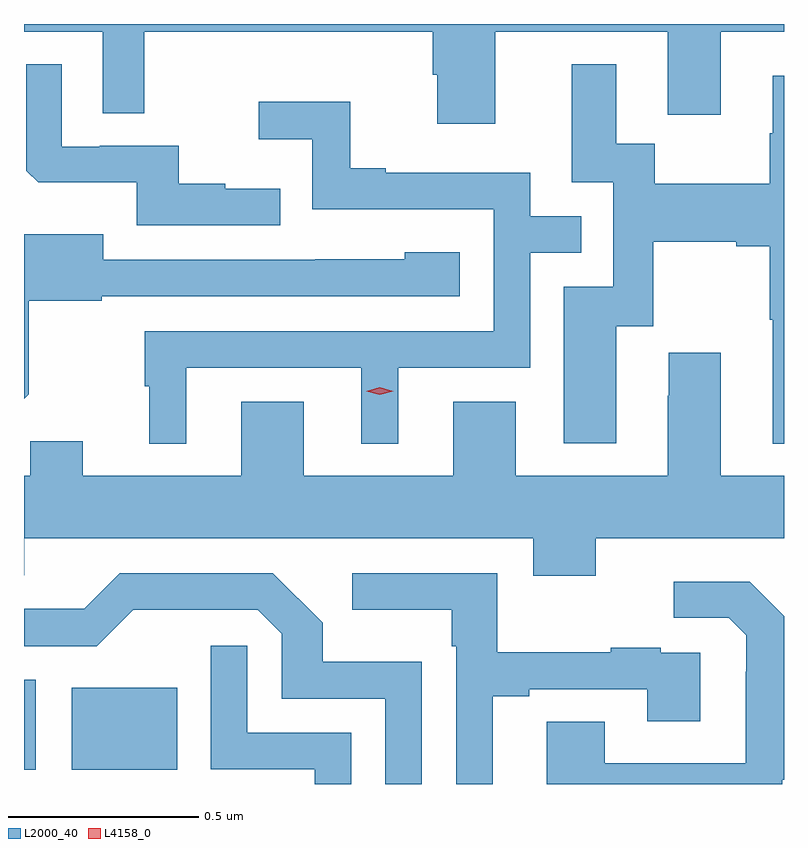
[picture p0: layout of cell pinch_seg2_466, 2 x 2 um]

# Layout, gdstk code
import gdstk
lib = gdstk.Library(unit=1e-6, precision=1e-09)
def R(c, l, rs):  # rectangles x0, y0, x1, y1
    for r in rs: c.add(gdstk.rectangle(r[:2], r[2:], *l))
def P(c, l, *ps):  # polygons
    for p in ps: c.add(gdstk.Polygon(p, *l))
L2000_40 = (2000, 40)
L4158_0 = (4158, 0)

pinch_seg2_466 = lib.new_cell('pinch_seg2_466')
R(pinch_seg2_466, L2000_40, [(888.357,601.739,888.388,601.975), (888.482,601.739,888.76,601.954)])
P(pinch_seg2_466, L2000_40, [(889.597,603.68),(890.051,603.68),(890.051,603.462),(890.191,603.462),(890.191,603.68),(890.357,603.68),(890.357,603.701),(888.357,603.701),(888.357,603.68),(888.564,603.68),(888.564,603.466),(888.673,603.466),(888.673,603.68),(889.433,603.68),(889.433,603.567),(889.445,603.567),(889.445,603.438),(889.597,603.438)],
  [(889.031,603.268),(888.887,603.268),(888.887,603.28),(888.764,603.28),(888.764,603.381),(888.556,603.381),(888.556,603.378),(888.456,603.378),(888.456,603.595),(888.363,603.595),(888.363,603.315),(888.395,603.284),(888.654,603.284),(888.654,603.171),(889.031,603.171)],
  [(890.357,603.565),(890.327,603.565),(890.327,603.414),(890.32,603.414),(890.32,603.28),(890.017,603.28),(890.017,603.386),(889.915,603.386),(889.915,603.595),(889.799,603.595),(889.799,603.285),(889.908,603.285),(889.908,603.009),(889.778,603.009),(889.778,602.598),(889.915,602.598),(889.915,602.906),(890.013,602.906),(890.013,603.128),(890.231,603.128),(890.231,603.116),(890.32,603.116),(890.32,602.923),(890.327,602.923),(890.327,602.597),(890.357,602.597)],
  [(888.784,602.796),(889.244,602.796),(889.244,602.597),(889.342,602.597),(889.342,602.796),(889.689,602.796),(889.689,603.099),(889.823,603.099),(889.823,603.195),(889.689,603.195),(889.689,603.309),(889.309,603.309),(889.309,603.322),(889.215,603.322),(889.215,603.497),(888.975,603.497),(888.975,603.398),(889.116,603.398),(889.116,603.213),(889.593,603.213),(889.593,602.892),(888.675,602.892),(888.675,602.748),(888.686,602.748),(888.686,602.597),(888.784,602.597)],
  [(888.369,602.727),(888.369,602.973),(888.561,602.973),(888.561,602.985),(889.504,602.985),(889.504,603.1),(889.359,603.1),(889.359,603.082),(889.123,603.082),(889.123,603.081),(888.565,603.081),(888.565,603.148),(888.357,603.148),(888.357,602.715)],
  [(889.861,602.348),(890.357,602.348),(890.357,602.512),(890.191,602.512),(890.191,602.836),(890.054,602.836),(890.054,602.723),(890.051,602.723),(890.051,602.512),(889.651,602.512),(889.651,602.707),(889.487,602.707),(889.487,602.512),(889.093,602.512),(889.093,602.707),(888.929,602.707),(888.929,602.512),(888.511,602.512),(888.511,602.603),(888.373,602.603),(888.373,602.512),(888.357,602.512),(888.357,602.25),(888.358,602.25),(888.358,602.348),(889.697,602.348),(889.697,602.249),(889.861,602.249)],
  [(889.591,601.932),(889.687,601.932),(889.687,601.95),(889.997,601.95),(889.997,601.866),(890.137,601.866),(890.137,602.046),(890.033,602.046),(890.033,602.059),(889.901,602.059),(889.901,602.048),(889.603,602.048),(889.603,602.256),(889.221,602.256),(889.221,602.159),(889.482,602.159),(889.482,602.063),(889.494,602.063),(889.494,601.701),(889.591,601.701)],
  [(889.404,602.023),(889.143,602.023),(889.143,602.126),(889.012,602.256),(888.609,602.256),(888.515,602.162),(888.357,602.162),(888.357,602.064),(888.549,602.064),(888.644,602.159),(888.748,602.159),(888.748,602.16),(888.972,602.16),(889.035,602.097),(889.035,601.926),(889.308,601.926),(889.308,601.701),(889.404,601.701)],
  [(890.352,601.712),(890.357,601.712),(890.357,602.143),(890.267,602.233),(890.067,602.233),(890.067,602.139),(890.211,602.139),(890.258,602.092),(890.258,601.997),(890.256,601.997),(890.256,601.756),(889.885,601.756),(889.885,601.865),(889.733,601.865),(889.733,601.701),(890.352,601.701)],
  [(889.218,601.836),(888.945,601.836),(888.945,602.065),(888.849,602.065),(888.849,601.74),(889.122,601.74),(889.122,601.701),(889.218,601.701)])
P(pinch_seg2_466, L4158_0, [(889.293,602.725),(889.257,602.735),(889.257,602.735),(889.257,602.735),(889.293,602.745),(889.329,602.735),(889.329,602.735),(889.329,602.735)])

lib.write_gds('pinch_seg2_466.gds')
